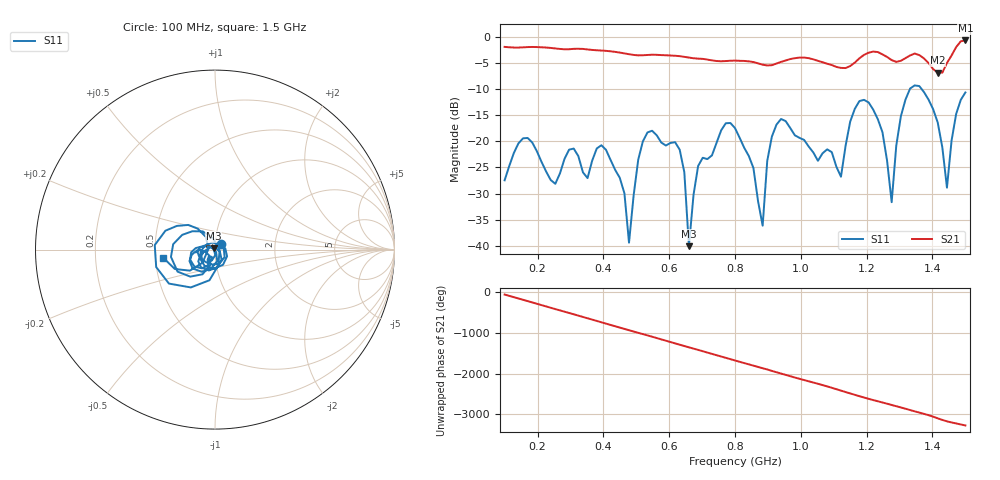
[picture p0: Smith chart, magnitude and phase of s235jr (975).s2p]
! NanoVNA-App
! Date: 2025-09-25 15:11:45
! Start: 100MHz Stop: 1,5GHz Points: 101
! S-Parameter data: F S11 S21 S12 S22
# Hz S RI R 50
!  Frequency  S11_Real  S11_Imag  S21_Real  S21_Imag  S12_Real  S12_Imag  S22_Real  S22_Imag
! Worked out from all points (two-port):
!   101 points, 100 MHz to 1.5 GHz, reference 50 ohm
!   highest |S21| = -0.73 dB at 1.5 GHz (marker M1); lowest = -6.9 dB at 1.416 GHz (marker M2)
!   |S21| within 3 dB of the highest: start of sweep to 631.1 MHz; 1.187 GHz to 1.258 GHz (70.82 MHz wide, 5.79 % of centre) (the widest 2 of 4)
!   lowest |S11| = -40.1 dB at 660 MHz (marker M3), VSWR 1.02, Z = 49.3 + j0.642 ohm
!   |S11| at or under -10 dB: start of sweep to 1.332 GHz; 1.367 GHz to end of sweep
!   S12 and S22 are empty: the file has one direction only
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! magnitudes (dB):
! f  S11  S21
! 100 MHz  -27.5  -2.0
! 156 MHz  -19.4  -2.1
! 338 MHz  -25.9  -2.3
! 408 MHz  -21.6  -2.7
! 478 MHz  -39.4  -3.4
! 520 MHz  -20.0  -3.6
! 576 MHz  -20.2  -3.5
! 632 MHz  -21.6  -3.7
! 660 MHz  -40.1  -4.0
! 688 MHz  -24.7  -4.2
! 800 MHz  -17.5  -4.6
! 884 MHz  -36.1  -5.4
! 898 MHz  -23.7  -5.5
! 926 MHz  -16.8  -5.1
! 1.038 GHz  -22.2  -4.3
! 1.122 GHz  -26.8  -6.0
! 1.206 GHz  -12.6  -3.1
! 1.276 GHz  -31.7  -4.5
! 1.332 GHz  -9.9  -3.6
! 1.416 GHz  -16.4  -6.9
! 1.444 GHz  -28.9  -5.0
! 1.5 GHz  -10.7  -0.7
